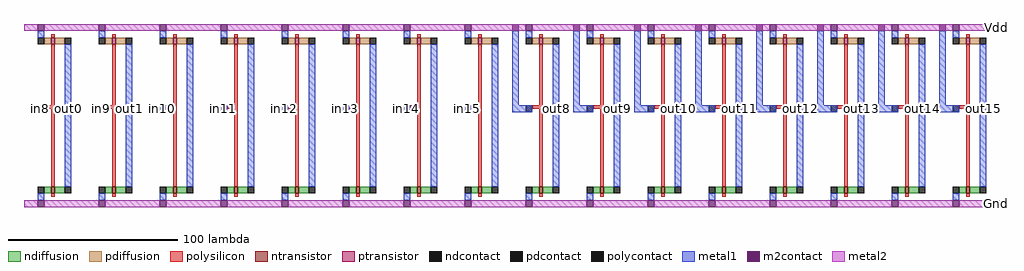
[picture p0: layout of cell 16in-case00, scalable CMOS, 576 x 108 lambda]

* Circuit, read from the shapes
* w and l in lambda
.subckt 16in-case00 Gnd Vdd in10 in11 in12 in13 in14 in15 in8 in9 out0 out1 out10 out11 out12 out13 out14 out15 out2 out3 out4 out5 out6 out7 out8 out9
M1 out0 in8 Gnd VSUBS nfet w=4 l=2
M2 out1 in9 Gnd VSUBS nfet w=4 l=2
M3 out2 in10 Gnd VSUBS nfet w=4 l=2
M4 out3 in11 Gnd VSUBS nfet w=4 l=2
M5 out4 in12 Gnd VSUBS nfet w=4 l=2
M6 out5 in13 Gnd VSUBS nfet w=4 l=2
M7 out6 in14 Gnd VSUBS nfet w=4 l=2
M8 out7 in15 Gnd VSUBS nfet w=4 l=2
M9 out8 Vdd Gnd VSUBS nfet w=4 l=2
M10 out9 Vdd Gnd VSUBS nfet w=4 l=2
M11 out10 Vdd Gnd VSUBS nfet w=4 l=2
M12 out11 Vdd Gnd VSUBS nfet w=4 l=2
M13 out12 Vdd Gnd VSUBS nfet w=4 l=2
M14 out13 Vdd Gnd VSUBS nfet w=4 l=2
M15 out14 Vdd Gnd VSUBS nfet w=4 l=2
M16 out15 Vdd Gnd VSUBS nfet w=4 l=2
M17 out0 in8 Vdd NWELL pfet w=4 l=2
M18 out1 in9 Vdd NWELL pfet w=4 l=2
M19 out2 in10 Vdd NWELL pfet w=4 l=2
M20 out3 in11 Vdd NWELL pfet w=4 l=2
M21 out4 in12 Vdd NWELL pfet w=4 l=2
M22 out5 in13 Vdd NWELL pfet w=4 l=2
M23 out6 in14 Vdd NWELL pfet w=4 l=2
M24 out7 in15 Vdd NWELL pfet w=4 l=2
M25 out8 Vdd Vdd NWELL pfet w=4 l=2
M26 out9 Vdd Vdd NWELL pfet w=4 l=2
M27 out10 Vdd Vdd NWELL pfet w=4 l=2
M28 out11 Vdd Vdd NWELL pfet w=4 l=2
M29 out12 Vdd Vdd NWELL pfet w=4 l=2
M30 out13 Vdd Vdd NWELL pfet w=4 l=2
M31 out14 Vdd Vdd NWELL pfet w=4 l=2
M32 out15 Vdd Vdd NWELL pfet w=4 l=2
.ends

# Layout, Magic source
magic
tech scmos
<< metal1 >>
rect 288 60 292 104
rect 324 60 328 104
rect 360 60 364 104
rect 396 60 400 104
rect 432 60 436 104
rect 468 60 472 104
rect 504 60 508 104
rect 540 60 544 104
rect 8 56 12 60
rect 24 56 28 60
rect 44 56 48 60
rect 60 56 64 60
rect 80 56 84 60
rect 96 56 100 60
rect 116 56 120 60
rect 132 56 136 60
rect 152 56 156 60
rect 168 56 172 60
rect 188 56 192 60
rect 204 56 208 60
rect 224 56 228 60
rect 240 56 244 60
rect 260 56 264 60
rect 276 56 280 60
rect 288 56 300 60
rect 312 56 316 60
rect 324 56 336 60
rect 348 56 352 60
rect 360 56 372 60
rect 384 56 388 60
rect 396 56 408 60
rect 420 56 424 60
rect 432 56 444 60
rect 456 56 460 60
rect 468 56 480 60
rect 492 56 496 60
rect 504 56 516 60
rect 528 56 532 60
rect 540 56 552 60
rect 564 56 568 60
<< metal2 >>
rect 572 104 576 108
rect 572 0 576 4
<< m2contact >>
rect 288 104 292 108
rect 324 104 328 108
rect 360 104 364 108
rect 396 104 400 108
rect 432 104 436 108
rect 468 104 472 108
rect 504 104 508 108
rect 540 104 544 108
use 8in-case00  8in-case00_0
transform 1 0 0 0 1 0
box 0 0 288 108
use 8in-case00  8in-case00_1
transform 1 0 288 0 1 0
box 0 0 288 108
<< labels >>
rlabel metal1 8 56 12 60 1 in8
rlabel metal1 24 56 28 60 1 out0
rlabel metal1 44 56 48 60 1 in9
rlabel metal1 60 56 64 60 1 out1
rlabel metal1 80 56 84 60 1 in10
rlabel metal1 96 56 100 60 1 out2
rlabel metal1 116 56 120 60 1 in11
rlabel metal1 132 56 136 60 1 out3
rlabel metal1 152 56 156 60 1 in12
rlabel metal1 168 56 172 60 1 out4
rlabel metal1 188 56 192 60 1 in13
rlabel metal1 204 56 208 60 1 out5
rlabel metal1 224 56 228 60 1 in14
rlabel metal1 240 56 244 60 1 out6
rlabel metal1 260 56 264 60 1 in15
rlabel metal1 276 56 280 60 1 out7
rlabel metal1 312 56 316 60 1 out8
rlabel metal1 348 56 352 60 1 out9
rlabel metal1 384 56 388 60 1 out10
rlabel metal1 420 56 424 60 1 out11
rlabel metal1 456 56 460 60 1 out12
rlabel metal1 492 56 496 60 1 out13
rlabel metal1 528 56 532 60 1 out14
rlabel metal1 564 56 568 60 1 out15
rlabel metal2 572 104 576 108 6 Vdd
rlabel metal2 572 0 576 4 8 Gnd
<< end >>

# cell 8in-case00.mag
magic
tech scmos
use inverter  inverter_0
transform 1 0 0 0 1 0
box 0 0 36 108
use inverter  inverter_1
transform 1 0 36 0 1 0
box 0 0 36 108
use inverter  inverter_2
transform 1 0 72 0 1 0
box 0 0 36 108
use inverter  inverter_3
transform 1 0 108 0 1 0
box 0 0 36 108
use inverter  inverter_4
transform 1 0 144 0 1 0
box 0 0 36 108
use inverter  inverter_5
transform 1 0 180 0 1 0
box 0 0 36 108
use inverter  inverter_6
transform 1 0 216 0 1 0
box 0 0 36 108
use inverter  inverter_7
transform 1 0 252 0 1 0
box 0 0 36 108
<< end >>

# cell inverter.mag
magic
tech scmos
<< polysilicon >>
rect 16 100 18 102
rect 16 60 18 96
rect 12 58 18 60
rect 16 12 18 58
rect 16 6 18 8
<< ndiffusion >>
rect 12 8 16 12
rect 18 8 24 12
<< pdiffusion >>
rect 12 96 16 100
rect 18 96 24 100
<< metal1 >>
rect 8 100 12 104
rect 24 12 28 96
rect 8 4 12 8
<< metal2 >>
rect 0 104 8 108
rect 12 104 36 108
rect 0 0 8 4
rect 12 0 36 4
<< ntransistor >>
rect 16 8 18 12
<< ptransistor >>
rect 16 96 18 100
<< polycontact >>
rect 8 56 12 60
<< ndcontact >>
rect 8 8 12 12
rect 24 8 28 12
<< pdcontact >>
rect 8 96 12 100
rect 24 96 28 100
<< m2contact >>
rect 8 104 12 108
rect 8 0 12 4
<< end >>
